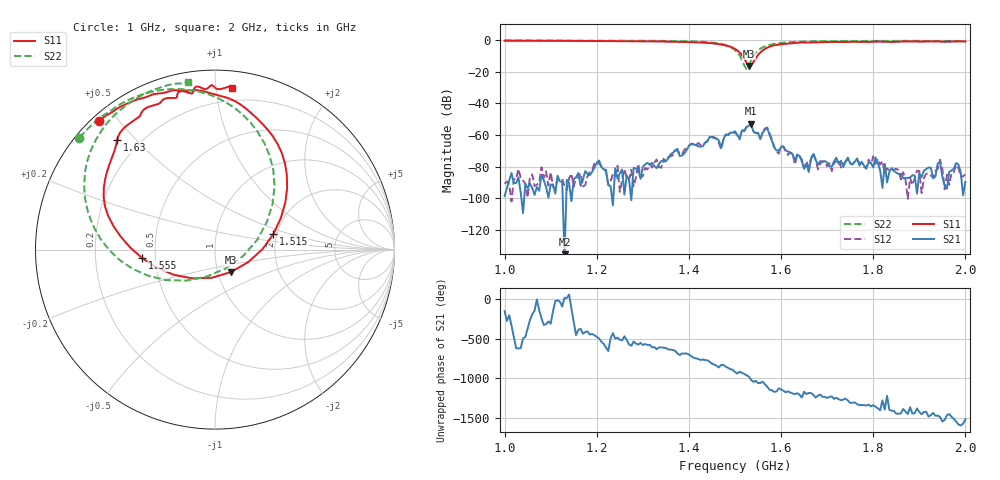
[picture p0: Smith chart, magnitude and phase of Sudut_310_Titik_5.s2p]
# Hz S RI R 50
! CMT, C1220, 16058040, 17.2.0/1
! Date: 14/08/2018 11:51:09
! Data: Format (Calibration Info)
! Freq  S11: Re/Im (F2)  S21: Re/Im (F2)  S12: Re/Im (F2)  S22: Re/Im (F2)
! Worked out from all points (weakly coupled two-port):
!   201 points, 1 GHz to 2 GHz, reference 50 ohm
!   highest |S21| = -52.74 dB at 1.535 GHz (marker M1); lowest = -137.1 dB at 1.13 GHz (marker M2)
!   lowest |S11| = -16.3 dB at 1.53 GHz (marker M3), VSWR 1.36, Z = 57.6 - j14.8 ohm
!   |S11| at or under -10 dB: 1.516 GHz to 1.548 GHz (32.2 MHz wide, 2.1 % of centre)
!   |S22| runs from -18.4 to -0.2 dB; largest |S21 - S12| = 0.00021
!   S11 on the Smith chart (normalised r, x): 1 GHz: 0.02, +0.44; 1.515 GHz: 1.92, +0.37; 1.555 GHz: 0.42, -0.05; 1.63 GHz: 0.12, +0.44; 2 GHz: 0.11, +1.11
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1e9  -0.647 0.7153  -1.06e-05 -5.26e-06  2.32e-05 -1.74e-05  -0.7554 0.624
1.13e9  -0.5098 0.8045  1.36e-07 3.11e-08  2.37e-05 -9.01e-08  -0.6574 0.7209
1.17e9  -0.4691 0.8221  8.1e-06 -3.81e-05  1.29e-06 2.38e-05  -0.6186 0.7504
1.335e9  -0.2064 0.8864  -4.12e-05 0.000117  1.59e-05 9.7e-05  -0.4016 0.8654
1.445e9  0.1586 0.7964  0.000308 -0.00083  0.000226 -0.000832  -0.0107 0.8555
1.47e9  0.2923 0.6694  -0.000142 -0.000367  -0.000138 -0.000332  0.1634 0.7434
1.5e9  0.4021 0.3451  -0.00124 0.000452  -0.00119 0.000386  0.3318 0.355
1.515e9  0.3249 0.0854  -0.00122 0.000687  -0.00127 0.000644  0.2354 0.0547
1.53e9  0.0883 -0.1255  -0.000421 0.00193  -0.000474 0.002  -0.0469 -0.1502
1.535e9  -0.0163 -0.1565  0.00113 0.00201  0.00115 0.00207  -0.1599 -0.1727
1.555e9  -0.406 -0.0473  0.000692 0.000294  0.0007 0.000329  -0.5322 -0.0572
1.57e9  -0.5642 0.1284  0.00148 -0.000714  0.00158 -0.000754  -0.6669 0.109
1.59e9  -0.6194 0.3456  3.21e-05 -0.000327  3.33e-05 -0.000304  -0.7259 0.3027
1.605e9  -0.5872 0.4774  0.000114 -0.000422  0.000126 -0.000413  -0.7258 0.4126
1.63e9  -0.545 0.6114  -7.14e-05 -0.000138  1.41e-05 -0.000116  -0.6955 0.5421
1.635e9  -0.539 0.6317  -7.04e-05 -0.000235  -3.92e-05 -0.000227  -0.6874 0.563
1.66e9  -0.4629 0.7115  -1.53e-05 -6.65e-05  3.83e-05 -9.07e-05  -0.6439 0.6446
1.67e9  -0.4324 0.7322  -0.000149 -0.000204  -0.000163 -0.000213  -0.6267 0.6711
1.68e9  -0.416 0.7481  -8.49e-05 -8.04e-05  -4.47e-05 -7e-05  -0.6105 0.6937
1.8e9  -0.2078 0.8701  -2.36e-05 9.17e-05  -8.35e-05 0.000195  -0.4262 0.8488
1.835e9  -0.1364 0.8702  5.04e-05 4.83e-05  7.4e-05 -2.84e-05  -0.3788 0.8739
2e9  0.0973 0.9025  9.49e-06 -3.17e-05  -5e-05 -2.72e-05  -0.1527 0.9339
